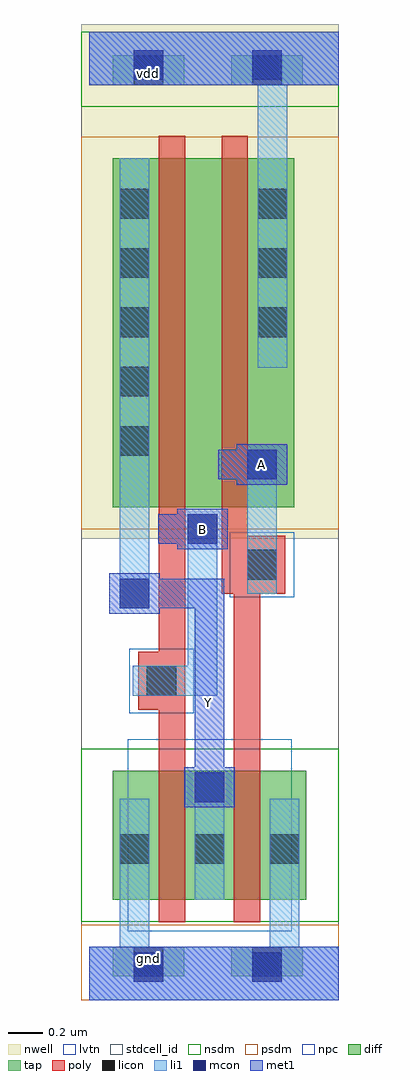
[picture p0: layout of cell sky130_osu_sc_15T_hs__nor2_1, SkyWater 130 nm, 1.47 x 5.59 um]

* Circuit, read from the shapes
.subckt sky130_osu_sc_15T_hs__nor2_1 A B Y gnd vdd
XM1 Y B gnd gnd sky130_fd_pr__nfet_01v8_lvt w=0.74 l=0.15
XM2 gnd A Y gnd sky130_fd_pr__nfet_01v8_lvt w=0.74 l=0.15
XM3 n1 B Y vdd sky130_fd_pr__pfet_01v8 w=2 l=0.15
XM4 vdd A n1 vdd sky130_fd_pr__pfet_01v8 w=2 l=0.15
.ends

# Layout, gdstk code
import gdstk
lib = gdstk.Library(unit=1e-6, precision=1e-09)
def R(c, l, rs):  # rectangles x0, y0, x1, y1
    for r in rs: c.add(gdstk.rectangle(r[:2], r[2:], *l))
def A(c, l, x, y, w, h, nx, ny, dx, dy):  # array of equal rectangles
    R(c, l, [(x+i*dx, y+j*dy, x+i*dx+w, y+j*dy+h) for i in range(nx) for j in range(ny)])
nwell = (64, 20)
diff = (65, 20)
tap = (65, 44)
poly = (66, 20)
licon = (66, 44)
li1 = (67, 20)
mcon = (67, 44)
met1 = (68, 20)
stdcell_id = (81, 4)
nsdm = (93, 44)
psdm = (94, 20)
npc = (95, 20)
lvtn = (125, 44)

sky130_osu_sc_15t_hs__no = lib.new_cell('sky130_osu_sc_15T_hs__nor2_1')
R(sky130_osu_sc_15t_hs__no, nwell, [(-0.045,2.645,1.43,5.595)])
R(sky130_osu_sc_15t_hs__no, diff, [(0.135,0.575,1.245,1.315), (0.135,2.825,1.175,4.825)])
R(sky130_osu_sc_15t_hs__no, tap, [(0.135,0.135,0.545,0.305), (0.815,0.135,1.225,0.305), (0.135,5.245,0.545,5.415), (0.815,5.245,1.225,5.415)])
R(sky130_osu_sc_15t_hs__no, poly, [(0.4,0.445,0.55,1.665), (0.83,0.445,0.98,2.33), (0.28,1.665,0.55,1.995), (0.4,1.995,0.55,4.955), (0.76,2.33,1.125,2.66), (0.76,2.66,0.91,4.955)])
A(sky130_osu_sc_15t_hs__no, licon, 0.175, 0.78, 0.17, 0.17, 3, 1, 0.43, 0)
A(sky130_osu_sc_15t_hs__no, licon, 0.175, 3.12, 0.17, 0.17, 1, 5, 0, 0.34)
A(sky130_osu_sc_15t_hs__no, licon, 0.965, 3.8, 0.17, 0.17, 1, 3, 0, 0.34)
R(sky130_osu_sc_15t_hs__no, licon, [(0.255,0.135,0.425,0.305), (0.935,0.135,1.105,0.305), (0.33,1.745,0.5,1.915), (0.905,2.41,1.075,2.58), (0.255,5.245,0.425,5.415), (0.935,5.245,1.105,5.415)])
R(sky130_osu_sc_15t_hs__no, li1, [(0,0,1.43,0.305), (0.175,0.305,0.345,1.155), (1.035,0.305,1.205,1.155), (0.605,0.575,0.775,1.305), (0.25,1.745,0.735,1.915), (0.565,1.915,0.735,2.785), (0.175,2.245,0.345,4.825), (0.905,2.33,1.075,3.155), (0.965,3.625,1.135,5.245), (0,5.245,1.43,5.55)])
R(sky130_osu_sc_15t_hs__no, mcon, [(0.255,0.105,0.425,0.275), (0.935,0.105,1.105,0.275), (0.605,1.135,0.775,1.305), (0.175,2.245,0.345,2.415), (0.565,2.615,0.735,2.785), (0.905,2.985,1.075,3.155), (0.255,5.275,0.425,5.445), (0.935,5.275,1.105,5.445)])
R(sky130_osu_sc_15t_hs__no, met1, [(0,0,1.43,0.305), (0.545,1.105,0.835,1.335), (0.605,1.335,0.775,2.245), (0.115,2.215,0.405,2.245), (0.115,2.245,0.775,2.415), (0.115,2.415,0.405,2.445), (0.505,2.585,0.795,2.615), (0.395,2.615,0.795,2.785), (0.505,2.785,0.795,2.815), (0.845,2.955,1.135,2.985), (0.74,2.985,1.135,3.155), (0.845,3.155,1.135,3.185), (0,5.245,1.43,5.55)])
R(sky130_osu_sc_15t_hs__no, stdcell_id, [(-0.045,0,1.43,5.55)])
R(sky130_osu_sc_15t_hs__no, nsdm, [(-0.045,0.45,1.43,1.44), (-0.045,5.12,1.43,5.55)])
R(sky130_osu_sc_15t_hs__no, psdm, [(-0.045,0,1.43,0.43), (-0.045,2.7,1.43,4.95)])
R(sky130_osu_sc_15t_hs__no, npc, [(0.23,1.645,0.6,2.015), (0.805,2.31,1.175,2.68)])
R(sky130_osu_sc_15t_hs__no, lvtn, [(0.22,0.395,1.16,1.495)])
sky130_osu_sc_15t_hs__no.add(gdstk.Label('gnd', (0.34,0.24), layer=68, texttype=16))
sky130_osu_sc_15t_hs__no.add(gdstk.Label('vdd', (0.34,5.31), layer=68, texttype=16))
sky130_osu_sc_15t_hs__no.add(gdstk.Label('Y', (0.685,1.705), layer=68, texttype=5))
sky130_osu_sc_15t_hs__no.add(gdstk.Label('B', (0.65,2.7), layer=68, texttype=5))
sky130_osu_sc_15t_hs__no.add(gdstk.Label('A', (0.99,3.07), layer=68, texttype=5))

lib.write_gds('sky130_osu_sc_15T_hs__nor2_1.gds')
